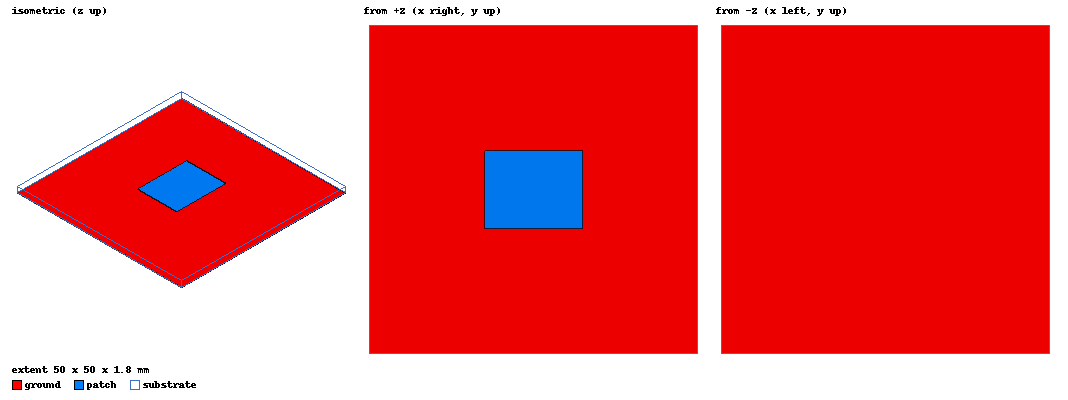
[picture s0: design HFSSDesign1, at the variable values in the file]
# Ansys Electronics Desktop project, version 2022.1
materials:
  vacuum: permittivity=1

design HFSSDesign1 (HFSS, DrivenModal, model units mm)
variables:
  taban_boy = 50mm
  taban_en = 50mm
  substrate_h = 1.8mm
  patch_boy = 15mm
  patch_en = 12mm
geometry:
  ground = rectangle(corner=(-taban_boy/2, -taban_en/2, 0mm), x_size=taban_boy, y_size=taban_en)
  substrate [vacuum] = box(corner=(-taban_boy/2, -taban_en/2, 0), size=(taban_boy, taban_en, substrate_h))
  patch = rectangle(corner=(-patch_boy/2, -patch_en/2, substrate_h), x_size=patch_boy, y_size=patch_en)
